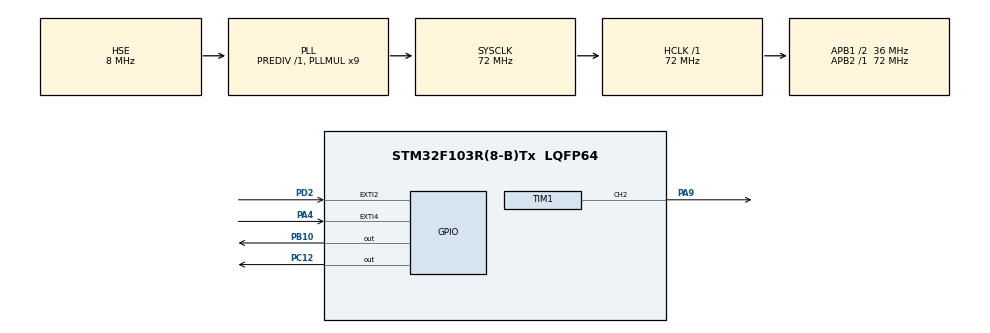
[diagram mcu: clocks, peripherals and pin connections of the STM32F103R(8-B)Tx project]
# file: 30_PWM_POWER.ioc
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Mcu.Family=STM32F1
Mcu.Name=STM32F103R(8-B)Tx
Mcu.Package=LQFP64
NVIC.EXTI2_IRQn=true\:0\:0\:false\:false\:true\:true\:true\:true
NVIC.EXTI4_IRQn=true\:0\:0\:false\:false\:true\:true\:true\:true
NVIC.PriorityGroup=NVIC_PRIORITYGROUP_4
PA4.GPIO_ModeDefaultEXTI=GPIO_MODE_IT_FALLING
PA4.Signal=GPXTI4
PA9.Signal=S_TIM1_CH2
PB10.Signal=GPIO_Output
PC12.Signal=GPIO_Output
PC14-OSC32_IN.Mode=LSE-External-Oscillator
PC14-OSC32_IN.Signal=RCC_OSC32_IN
PC15-OSC32_OUT.Mode=LSE-External-Oscillator
PC15-OSC32_OUT.Signal=RCC_OSC32_OUT
PD0-OSC_IN.Mode=HSE-External-Clock-Source
PD0-OSC_IN.Signal=RCC_OSC_IN
PD1-OSC_OUT.Mode=HSE-External-Clock-Source
PD1-OSC_OUT.Signal=RCC_OSC_OUT
PD2.GPIO_ModeDefaultEXTI=GPIO_MODE_IT_FALLING
PD2.Signal=GPXTI2
ProjectManager.HeapSize=0x200
ProjectManager.StackSize=0x400
ProjectManager.TargetToolchain=STM32CubeIDE
RCC.AHBFreq_Value=72000000
RCC.APB1CLKDivider=RCC_HCLK_DIV2
RCC.APB1Freq_Value=36000000
RCC.APB1TimFreq_Value=72000000
RCC.APB2Freq_Value=72000000
RCC.APB2TimFreq_Value=72000000
RCC.HCLKFreq_Value=72000000
RCC.PLLMUL=RCC_PLL_MUL9
RCC.PLLSourceVirtual=RCC_PLLSOURCE_HSE
RCC.SYSCLKFreq_VALUE=72000000
RCC.SYSCLKSource=RCC_SYSCLKSOURCE_PLLCLK
RCC.USBFreq_Value=72000000
SH.S_TIM1_CH2.0=TIM1_CH2,PWM Generation2 CH2
TIM1.AutoReloadPreload=TIM_AUTORELOAD_PRELOAD_ENABLE
TIM1.Channel-PWM\ Generation2\ CH2=TIM_CHANNEL_2
TIM1.Pulse-PWM\ Generation2\ CH2=0
VP_TIM1_VS_ClockSourceINT.Mode=Internal
board=custom

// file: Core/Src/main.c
/* USER CODE BEGIN Header */
/**
  ******************************************************************************
  * @file           : main.c
  * @brief          : Main program body
  ******************************************************************************
  * @attention
  *
  * Copyright (c) 2023 STMicroelectronics.
  * All rights reserved.
  *
  * This software is licensed under terms that can be found in the LICENSE file
  * in the root directory of this software component.
  * If no LICENSE file comes with this software, it is provided AS-IS.
  *
  ******************************************************************************
  */
/* USER CODE END Header */
#include "main.h"

/* USER CODE BEGIN PD */
#define MOTOR_CW 0
#define MOTOR_CCW 1
/* USER CODE END PD */

TIM_HandleTypeDef htim1;

/* USER CODE BEGIN PV */
uint16_t motor_arr, motor_ccr2;
uint16_t motor_state;
/* USER CODE END PV */

void SystemClock_Config(void);
static void MX_GPIO_Init(void);
static void MX_TIM1_Init(void);

int main(void)
{

  /* MCU Configuration--------------------------------------------------------*/

  /* Reset of all peripherals, Initializes the Flash interface and the Systick. */
  HAL_Init();

  /* Configure the system clock */
  SystemClock_Config();

  /* Initialize all configured peripherals */
  MX_GPIO_Init();
  MX_TIM1_Init();
  /* USER CODE BEGIN 2 */
#if 0
  HAL_TIM_PWM_Start(&htim1, TIM_CHANNEL_2);
  HAL_GPIO_WritePin(GPIOB, GPIO_PIN_10, GPIO_PIN_SET);
  HAL_GPIO_WritePin(GPIOC, GPIO_PIN_12, GPIO_PIN_RESET);
  motor_arr = __HAL_TIM_GET_AUTORELOAD(&htim1);
#endif

#if 1
  HAL_TIM_PWM_Start(&htim1, TIM_CHANNEL_2);
  motor_arr = __HAL_TIM_GET_AUTORELOAD(&htim1);
  motor_ccr2 = (motor_arr / 10) * 2;
  __HAL_TIM_SET_COMPARE(&htim1, TIM_CHANNEL_2, motor_ccr2);
#endif
  /* USER CODE END 2 */

  /* Infinite loop */
  /* USER CODE BEGIN WHILE */
  while (1)
  {
#if 0
	  motor_ccr2 = motor_arr / 10;
	  for (int i = 0; i < 5; i++) {
		  __HAL_TIM_SET_COMPARE(&htim1, TIM_CHANNEL_2, motor_ccr2*i);
		  HAL_Delay(1000);
	  }
	  for (int i = 5; i > 0; i--) {
		  __HAL_TIM_SET_COMPARE(&htim1, TIM_CHANNEL_2, motor_ccr2*i);
		  HAL_Delay(1000);
	  }
#endif

#if 1
	  switch(motor_state){
	  case MOTOR_CW:
		  HAL_GPIO_WritePin(GPIOB, GPIO_PIN_10, GPIO_PIN_SET);
		  HAL_GPIO_WritePin(GPIOC, GPIO_PIN_12, GPIO_PIN_RESET);
		  break;
	  case MOTOR_CCW:
		  HAL_GPIO_WritePin(GPIOB, GPIO_PIN_10, GPIO_PIN_RESET);
		  HAL_GPIO_WritePin(GPIOC, GPIO_PIN_12, GPIO_PIN_SET);
		  break;
	  default:
		  break;
	  }
#endif
    /* USER CODE END WHILE */

  }
}

void SystemClock_Config(void)
{
  RCC_OscInitTypeDef RCC_OscInitStruct = {0};
  RCC_ClkInitTypeDef RCC_ClkInitStruct = {0};

  /** Initializes the RCC Oscillators according to the specified parameters
  * in the RCC_OscInitTypeDef structure.
  */
  RCC_OscInitStruct.OscillatorType = RCC_OSCILLATORTYPE_HSE;
  RCC_OscInitStruct.HSEState = RCC_HSE_BYPASS;
  RCC_OscInitStruct.HSEPredivValue = RCC_HSE_PREDIV_DIV1;
  RCC_OscInitStruct.HSIState = RCC_HSI_ON;
  RCC_OscInitStruct.PLL.PLLState = RCC_PLL_ON;
  RCC_OscInitStruct.PLL.PLLSource = RCC_PLLSOURCE_HSE;
  RCC_OscInitStruct.PLL.PLLMUL = RCC_PLL_MUL9;
  if (HAL_RCC_OscConfig(&RCC_OscInitStruct) != HAL_OK)
  {
    Error_Handler();
  }

  /** Initializes the CPU, AHB and APB buses clocks
  */
  RCC_ClkInitStruct.ClockType = RCC_CLOCKTYPE_HCLK|RCC_CLOCKTYPE_SYSCLK
                              |RCC_CLOCKTYPE_PCLK1|RCC_CLOCKTYPE_PCLK2;
  RCC_ClkInitStruct.SYSCLKSource = RCC_SYSCLKSOURCE_PLLCLK;
  RCC_ClkInitStruct.AHBCLKDivider = RCC_SYSCLK_DIV1;
  RCC_ClkInitStruct.APB1CLKDivider = RCC_HCLK_DIV2;
  RCC_ClkInitStruct.APB2CLKDivider = RCC_HCLK_DIV1;

  if (HAL_RCC_ClockConfig(&RCC_ClkInitStruct, FLASH_LATENCY_2) != HAL_OK)
  {
    Error_Handler();
  }
}

static void MX_TIM1_Init(void)
{

  TIM_ClockConfigTypeDef sClockSourceConfig = {0};
  TIM_MasterConfigTypeDef sMasterConfig = {0};
  TIM_OC_InitTypeDef sConfigOC = {0};
  TIM_BreakDeadTimeConfigTypeDef sBreakDeadTimeConfig = {0};

  htim1.Instance = TIM1;
  htim1.Init.Prescaler = 0;
  htim1.Init.CounterMode = TIM_COUNTERMODE_UP;
  htim1.Init.Period = 65535;
  htim1.Init.ClockDivision = TIM_CLOCKDIVISION_DIV1;
  htim1.Init.RepetitionCounter = 0;
  htim1.Init.AutoReloadPreload = TIM_AUTORELOAD_PRELOAD_ENABLE;
  if (HAL_TIM_Base_Init(&htim1) != HAL_OK)
  {
    Error_Handler();
  }
  sClockSourceConfig.ClockSource = TIM_CLOCKSOURCE_INTERNAL;
  if (HAL_TIM_ConfigClockSource(&htim1, &sClockSourceConfig) != HAL_OK)
  {
    Error_Handler();
  }
  if (HAL_TIM_PWM_Init(&htim1) != HAL_OK)
  {
    Error_Handler();
  }
  sMasterConfig.MasterOutputTrigger = TIM_TRGO_RESET;
  sMasterConfig.MasterSlaveMode = TIM_MASTERSLAVEMODE_DISABLE;
  if (HAL_TIMEx_MasterConfigSynchronization(&htim1, &sMasterConfig) != HAL_OK)
  {
    Error_Handler();
  }
  sConfigOC.OCMode = TIM_OCMODE_PWM1;
  sConfigOC.Pulse = 0;
  sConfigOC.OCPolarity = TIM_OCPOLARITY_HIGH;
  sConfigOC.OCNPolarity = TIM_OCNPOLARITY_HIGH;
  sConfigOC.OCFastMode = TIM_OCFAST_DISABLE;
  sConfigOC.OCIdleState = TIM_OCIDLESTATE_RESET;
  sConfigOC.OCNIdleState = TIM_OCNIDLESTATE_RESET;
  if (HAL_TIM_PWM_ConfigChannel(&htim1, &sConfigOC, TIM_CHANNEL_2) != HAL_OK)
  {
    Error_Handler();
  }
  sBreakDeadTimeConfig.OffStateRunMode = TIM_OSSR_DISABLE;
  sBreakDeadTimeConfig.OffStateIDLEMode = TIM_OSSI_DISABLE;
  sBreakDeadTimeConfig.LockLevel = TIM_LOCKLEVEL_OFF;
  sBreakDeadTimeConfig.DeadTime = 0;
  sBreakDeadTimeConfig.BreakState = TIM_BREAK_DISABLE;
  sBreakDeadTimeConfig.BreakPolarity = TIM_BREAKPOLARITY_HIGH;
  sBreakDeadTimeConfig.AutomaticOutput = TIM_AUTOMATICOUTPUT_DISABLE;
  if (HAL_TIMEx_ConfigBreakDeadTime(&htim1, &sBreakDeadTimeConfig) != HAL_OK)
  {
    Error_Handler();
  }
  HAL_TIM_MspPostInit(&htim1);

}

static void MX_GPIO_Init(void)
{
  GPIO_InitTypeDef GPIO_InitStruct = {0};

  /* GPIO Ports Clock Enable */
  __HAL_RCC_GPIOC_CLK_ENABLE();
  __HAL_RCC_GPIOD_CLK_ENABLE();
  __HAL_RCC_GPIOA_CLK_ENABLE();
  __HAL_RCC_GPIOB_CLK_ENABLE();

  /*Configure GPIO pin Output Level */
  HAL_GPIO_WritePin(GPIOB, GPIO_PIN_10, GPIO_PIN_RESET);

  /*Configure GPIO pin Output Level */
  HAL_GPIO_WritePin(GPIOC, GPIO_PIN_12, GPIO_PIN_RESET);

  /*Configure GPIO pin : PA4 */
  GPIO_InitStruct.Pin = GPIO_PIN_4;
  GPIO_InitStruct.Mode = GPIO_MODE_IT_FALLING;
  GPIO_InitStruct.Pull = GPIO_NOPULL;
  HAL_GPIO_Init(GPIOA, &GPIO_InitStruct);

  /*Configure GPIO pin : PB10 */
  GPIO_InitStruct.Pin = GPIO_PIN_10;
  GPIO_InitStruct.Mode = GPIO_MODE_OUTPUT_PP;
  GPIO_InitStruct.Pull = GPIO_NOPULL;
  GPIO_InitStruct.Speed = GPIO_SPEED_FREQ_LOW;
  HAL_GPIO_Init(GPIOB, &GPIO_InitStruct);

  /*Configure GPIO pin : PC12 */
  GPIO_InitStruct.Pin = GPIO_PIN_12;
  GPIO_InitStruct.Mode = GPIO_MODE_OUTPUT_PP;
  GPIO_InitStruct.Pull = GPIO_NOPULL;
  GPIO_InitStruct.Speed = GPIO_SPEED_FREQ_LOW;
  HAL_GPIO_Init(GPIOC, &GPIO_InitStruct);

  /*Configure GPIO pin : PD2 */
  GPIO_InitStruct.Pin = GPIO_PIN_2;
  GPIO_InitStruct.Mode = GPIO_MODE_IT_FALLING;
  GPIO_InitStruct.Pull = GPIO_NOPULL;
  HAL_GPIO_Init(GPIOD, &GPIO_InitStruct);

  /* EXTI interrupt init*/
  HAL_NVIC_SetPriority(EXTI2_IRQn, 0, 0);
  HAL_NVIC_EnableIRQ(EXTI2_IRQn);

  HAL_NVIC_SetPriority(EXTI4_IRQn, 0, 0);
  HAL_NVIC_EnableIRQ(EXTI4_IRQn);

}

/* USER CODE BEGIN 4 */
void HAL_GPIO_EXTI_Callback(uint16_t GPIO_Pin) {
	if(!HAL_GPIO_ReadPin(GPIOD, GPIO_PIN_2)){
		motor_state = MOTOR_CW;
	}
	if(!HAL_GPIO_ReadPin(GPIOA, GPIO_PIN_4)){
		motor_state = MOTOR_CCW;
	}
}
/* USER CODE END 4 */

void Error_Handler(void)
{
  __disable_irq();
  while (1)
  {
  }
}
